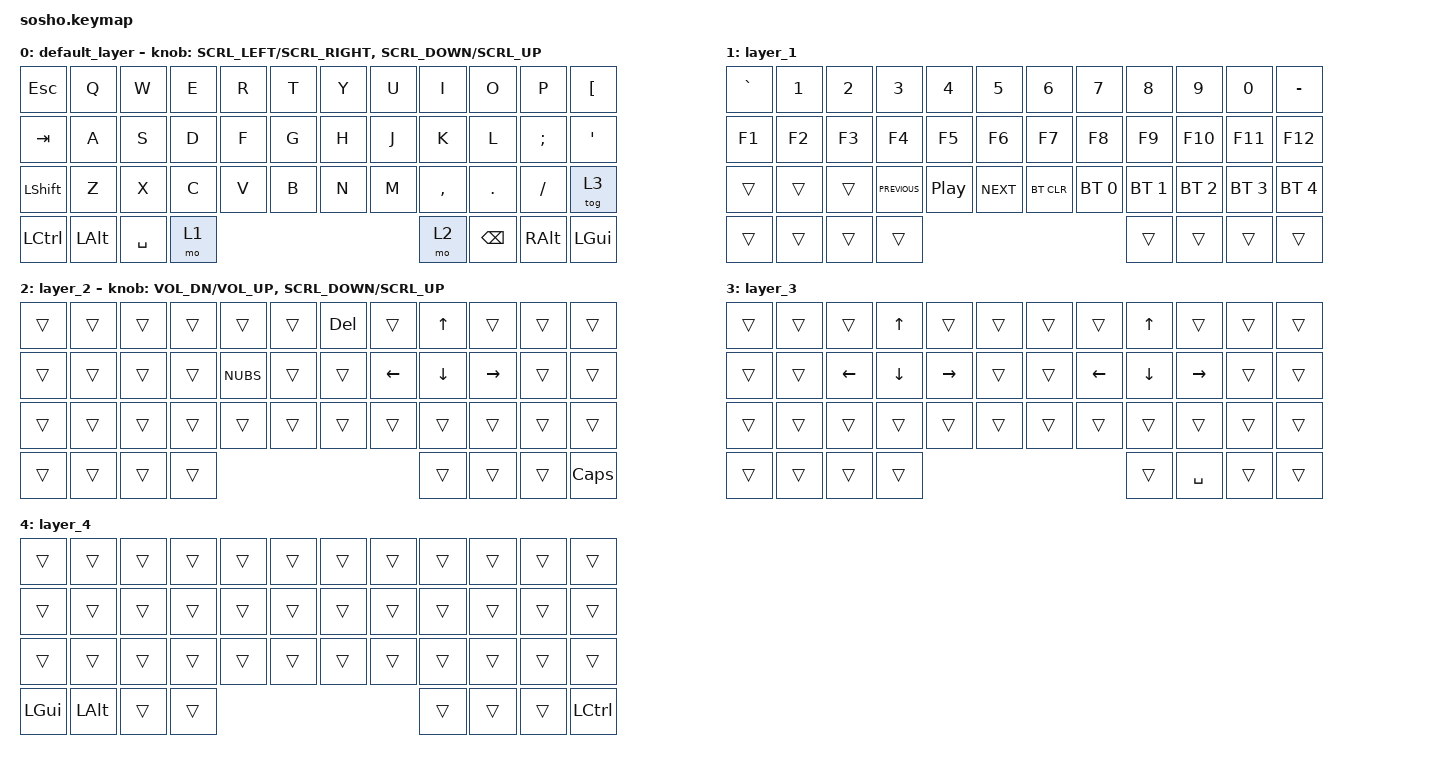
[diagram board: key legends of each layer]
//スクロール量の調整(デフォルト150)
#define ZMK_POINTING_DEFAULT_SCRL_VAL 150

#include <behaviors.dtsi>
#include <dt-bindings/zmk/bt.h>
#include <dt-bindings/zmk/keys.h>
#include <dt-bindings/zmk/pointing.h>
#include <dt-bindings/zmk/outputs.h>

/ {
	behaviors {
        ec_ms_l: ec_ms_h {
            compatible = "zmk,behavior-encoder-mouse-scroll";
            #sensor-binding-cells = <2>;
        };
        ec_ms_r: ec_ms_v {
            compatible = "zmk,behavior-encoder-mouse-scroll";
            #sensor-binding-cells = <2>;
        };
    };
};

//スクロールの調整
&msc {
    time-to-max-speed-ms = <0>;   // 即座に最大速度（加速なし）
    acceleration-exponent = <0>;   // 加速なし
};

/{
    combos {
        compatible = "zmk,combos";
		//左クリックのコンボ 19はJのキー 20はKのキーに相当します。
	    combo_LCLK {
            timeout-ms = <50>;
            key-positions = <19 20>;
            bindings = <&mkp LCLK>;
        };

		//右クリックのコンボ 20 K 21 L
        combo_RCLK {
            timeout-ms = <50>;
            key-positions = <20 21>;
            bindings = <&mkp RCLK>;
        };

		//ホイールクリックのコンボ 19 J 21 L
	    combo_MCLK {
            timeout-ms = <90>;
            key-positions = <19 21>;
            bindings = <&mkp MCLK>;
        };

		//エンターのコンボ 38 41
		combo_enter {
			bindings = <&kp ENTER>;
			key-positions = <38 41>;
		};
		

		//マックモードを付けるコンボ 39 40
		combo_toggleMac {
			bindings = <&tog 4>;
			key-positions = <39 40>;
		};
    };
};

/{
keymap {
    compatible = "zmk,keymap";

    default_layer {
		// -----------------------------------------------------------------------------------------------
            // |  ESC  |  Q  |  W  |  E  |  R  |  T  |               |  Y  |  U  |  I  |  O  |  P  |  Å  |
            // |  TAB  |  A  |  S  |  D  |  F  |  G  |               |  H  |  J  |  K  |  L  |  Ø  |  Æ  |
            // | SHIFT |  Z  |  X  |  C  |  V  |  B  |               |  N  |  M  |  ,  |  .  |  -  |MEDIA|
            // | CTRL  | ALT |           |SPACE|LOWER|               |RAISE|BSPC |           |ALTGR| GUI |


        bindings = <
            &kp ESC    &kp Q      &kp W  &kp E  &kp R  &kp T      &kp Y  &kp U  &kp I      &kp O    &kp P           &kp LEFT_BRACKET
            &kp TAB    &kp A      &kp S  &kp D  &kp F  &kp G      &kp H  &kp J  &kp K      &kp L    &kp SEMI        &kp SQT
            &kp LSHFT  &kp Z      &kp X  &kp C  &kp V  &kp B      &kp N  &kp M  &kp COMMA  &kp DOT  &kp FSLH        &tog 3
            &kp LCTRL  &kp LALT                 &kp SPACE  &mo 1  &mo 2 &kp BACKSPACE               &kp RIGHT_ALT   &kp LGUI
        >;
		//&ec_ms_lとrは、上のビヘイビアで作ったもの。
        sensor-bindings = <&ec_ms_l SCRL_LEFT SCRL_RIGHT &ec_ms_r SCRL_DOWN SCRL_UP>;
    };
	
    layer_1 {
		// -----------------------------------------------------------------------------------------------
            // |   '   |   1   |   2   |   3   |   4   |   5   |               |   6   |   7   |   8   |   9   |   0   |   +   |
            // |  F1   |  F2   |  F3   |  F4   |  F5   |  F6   |               |  F7   |  F8   |  F9   |  F10  |  F11  |  F12  |
            // | trans | trans | trans | PREV  | PLAY  | NEXT  |               |BT_CLR |BT_SEL0|BT_SEL1|BT_SEL2|BT_SEL3|BT_SEL4|
            // | trans | trans |               | trans | trans |               | trans | trans |               | trans | trans |

        bindings = <
            &kp GRAVE &kp N1  &kp N2  &kp N3          &kp N4            &kp N5        &kp N6      &kp N7        &kp N8        &kp N9        &kp N0        &kp MINUS
            &kp F1    &kp F2  &kp F3  &kp F4          &kp F5            &kp F6        &kp F7      &kp F8        &kp F9        &kp F10       &kp F11       &kp F12
            &trans    &trans  &trans  &kp C_PREVIOUS  &kp C_PLAY_PAUSE  &kp C_NEXT    &bt BT_CLR  &bt BT_SEL 0  &bt BT_SEL 1  &bt BT_SEL 2  &bt BT_SEL 3  &bt BT_SEL 4 
            &trans    &trans                          &trans            &trans        &trans      &trans                                    &trans        &trans
        >;
    };

    layer_2 {
		// -----------------------------------------------------------------------------------------------
            // | trans | trans | trans | trans | trans | trans |               |  DEL  | trans |  UP   | trans | trans | trans |
            // | trans | trans | trans | trans |  <>   | trans |               | trans | LEFT  | DOWN  | RIGHT | trans | trans |
            // | trans | trans | trans | trans | trans | trans |               | trans | trans | trans | trans | trans | trans |
            // | trans | trans |               | trans | trans |               | trans | trans |               | trans | CAPS  |

        bindings = <
            &trans  &trans  &trans  &trans  &trans    &trans    &kp DEL  &trans    &kp UP    &trans     &trans  &trans
			&trans  &trans  &trans  &trans  &kp NUBS  &trans    &trans   &kp LEFT  &kp DOWN  &kp RIGHT  &trans  &trans
			&trans  &trans  &trans  &trans  &trans    &trans    &trans   &trans    &trans    &trans     &trans  &trans
			&trans  &trans                  &trans    &trans    &trans   &trans                         &trans  &kp CAPS
        >;
		//レイヤー2のときだけ、左手のエンコーダを回すとボリュームの上下ができるようになっています。
		sensor-bindings = <&inc_dec_kp C_VOL_DN C_VOL_UP &ec_ms_r SCRL_DOWN SCRL_UP>;

    };

    layer_3 {
		// -----------------------------------------------------------------------------------------------
            // | trans | trans | trans |  UP   | trans | trans |               | trans | trans |  UP   | trans | trans | trans |
            // | trans | trans | LEFT  | DOWN  | RIGHT | trans |               | trans | LEFT  | DOWN  | RIGHT | trans | trans |
            // | trans | trans | trans | trans | trans | trans |               | trans | trans | trans | trans | trans | trans |
            // | trans | trans |               | trans | trans |               | SPACE | trans |               | trans | trans |

        bindings = <
            &trans  &trans  &trans    &kp UP    &trans     &trans    &trans  &trans    &kp UP    &trans     &trans  &trans
			&trans  &trans  &kp LEFT  &kp DOWN  &kp RIGHT  &trans    &trans  &kp LEFT  &kp DOWN  &kp RIGHT  &trans  &trans
			&trans  &trans  &trans    &trans    &trans     &trans    &trans  &trans    &trans    &trans     &trans  &trans
			&trans  &trans                      &trans     &trans    &trans  &kp SPACE                       &trans  &trans
        >;
    };

	layer_4 {
		// -----------------------------------------------------------------------------------------------
            // | trans | trans | trans | trans | trans | trans |               | trans | trans | trans | trans | trans | trans |
            // | trans | trans | trans | trans | trans | trans |               | trans | trans | trans | trans | trans | trans |
            // | trans | trans | trans | trans | trans | trans |               | trans | trans | trans | trans | trans | trans |
            // |  GUI  |  ALT  |               | trans | trans |               | trans | trans |               | trans | CTRL  |

        bindings = <
            &trans    &trans  &trans  &trans  &trans  &trans    &trans  &trans  &trans  &trans  &trans  &trans
			&trans    &trans  &trans  &trans  &trans  &trans    &trans  &trans  &trans  &trans  &trans  &trans
			&trans    &trans  &trans  &trans  &trans  &trans    &trans  &trans  &trans  &trans  &trans  &trans
			&kp LGUI  &kp LALT                &trans  &trans    &trans  &trans                  &trans  &kp LCTRL
        >;
    };
    scroll {
        status = "reserved";
    };

    extra2 {
        status = "reserved";
    };
};
};
